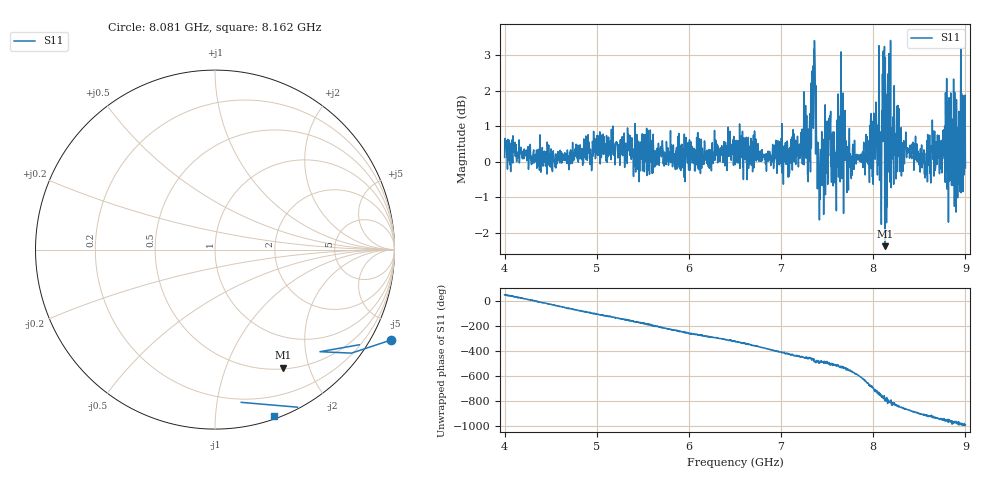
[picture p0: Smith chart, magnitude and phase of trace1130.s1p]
! Created with skrf 1.8.0 (http://scikit-rf.org).
# Hz S RI R 50.0
!freq ReS11 ImS11
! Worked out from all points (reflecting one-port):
!   1601 points, 4 GHz to 9 GHz, reference 50 ohm
!   lowest |S11| = -2.4 dB at 8.125 GHz (marker M1), VSWR 7.34, Z = 25.8 - j80.6 ohm
!   phase of S11 starts at 51 deg and turns -1042 deg over the sweep
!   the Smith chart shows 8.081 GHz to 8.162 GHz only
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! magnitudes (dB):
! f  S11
! 4 GHz  0.1
! 4.625 GHz  0.0
! 5.25 GHz  -0.1
! 5.875 GHz  0.1
! 6.5 GHz  0.2
! 7.125 GHz  0.4
! 7.294 GHz  -0.6
! 7.347 GHz  2.7
! 7.381 GHz  1.3
! 7.4 GHz  0.5
! 7.428 GHz  0.1
! 7.512 GHz  0.3
! 7.591 GHz  0.3
! 7.669 GHz  1.2
! 7.703 GHz  0.6
! 7.75 GHz  0.1
! 7.975 GHz  -0.2
! 8.041 GHz  0.6
! 8.066 GHz  1.3
! 8.125 GHz  -2.4
! 8.15 GHz  -1.3
! 8.162 GHz  -0.2
! 8.375 GHz  0.4
! 8.556 GHz  -0.4
! 8.775 GHz  1.0
! 8.919 GHz  0.4
! 8.972 GHz  0.6
! 9 GHz  -0.2
